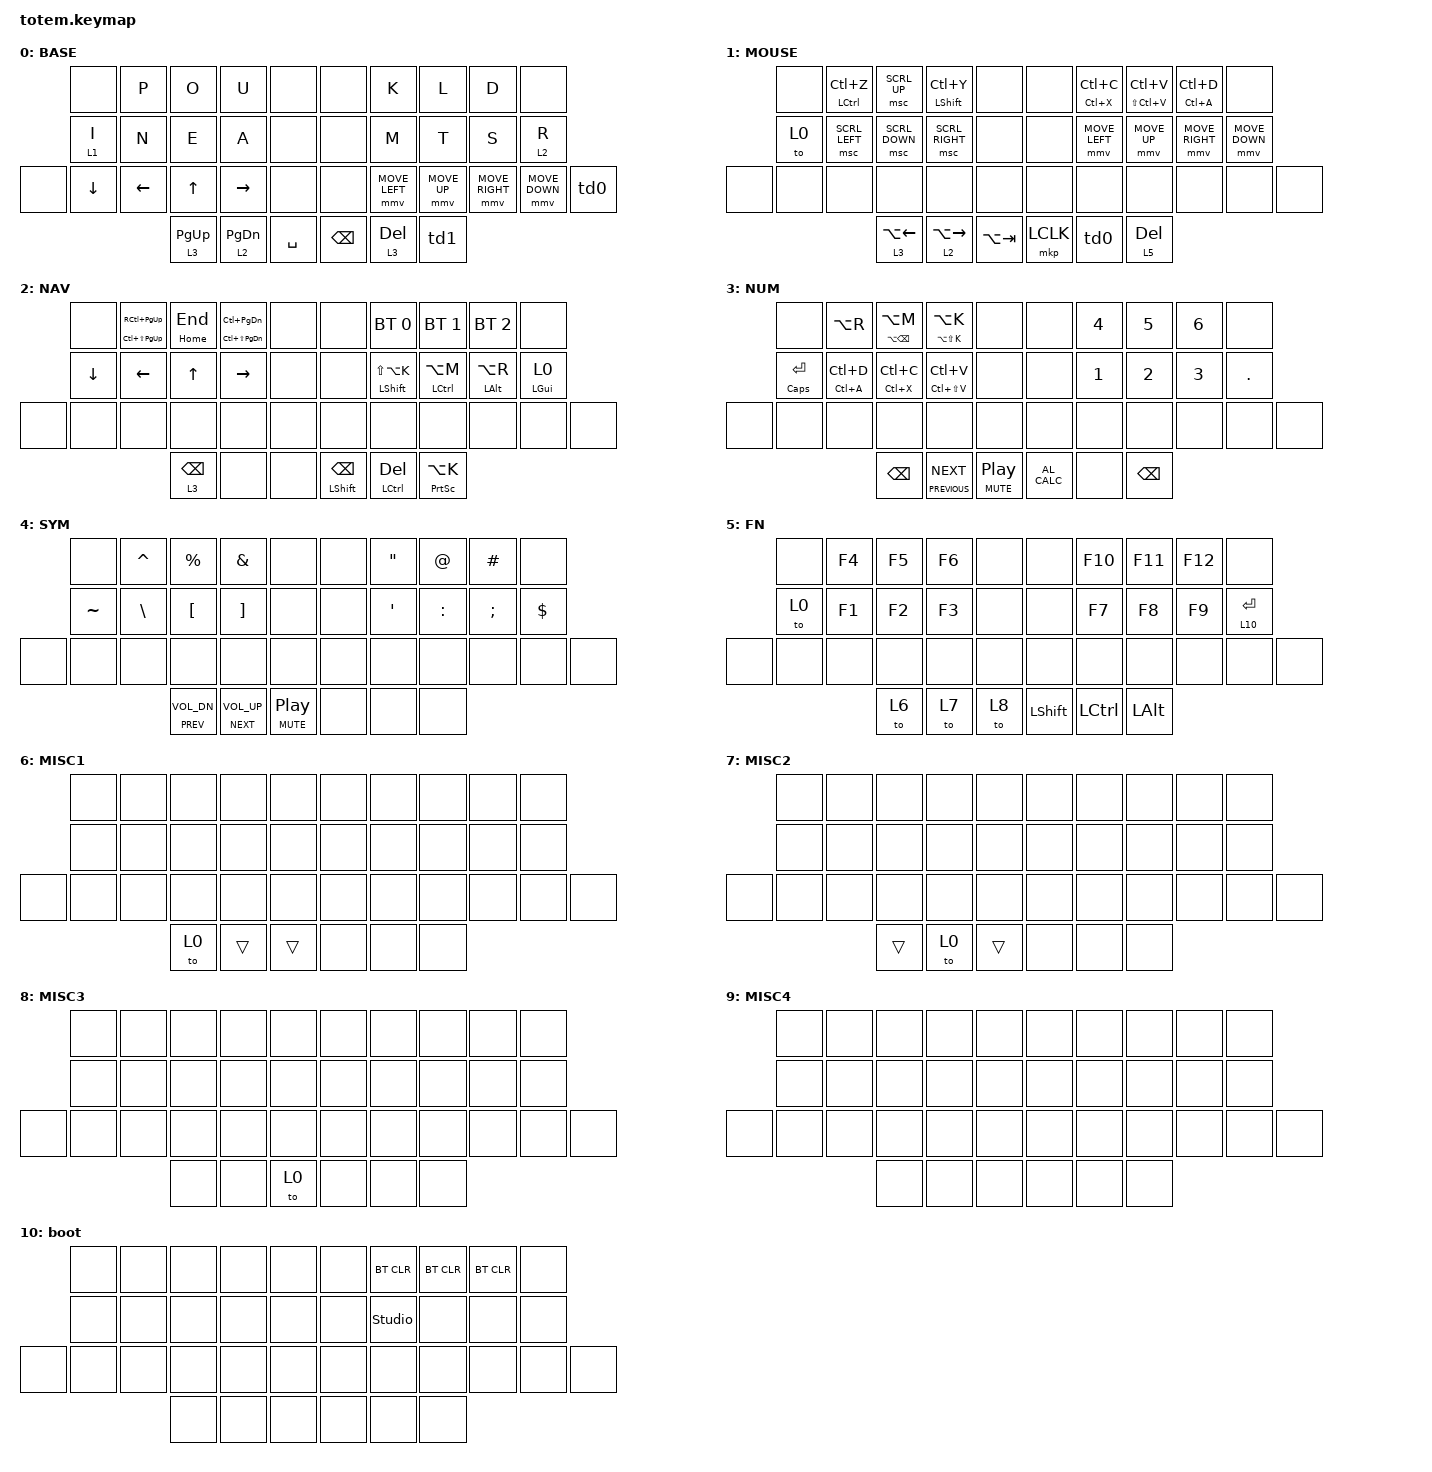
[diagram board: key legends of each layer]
/*
 * ZMK Keymap for Totem Split Keyboard (38 keys)
 * Customized with adjusted combo key positions & Layer 3 numpad combos.
 */

#include <behaviors.dtsi>
#include <dt-bindings/zmk/bt.h>
#include <dt-bindings/zmk/keys.h>
#include <dt-bindings/zmk/pointing.h>

/ {
    behaviors {
        /* Tap Dance 0: Single Tap = Right Click, Double Tap = Middle Click */

        td0: mouse_tap {
            compatible = "zmk,behavior-tap-dance";
            #binding-cells = <0>;
            tapping-term-ms = <170>;
            bindings = <&mkp RCLK>, <&mkp MCLK>;

            label = "mouse_tap";
        };

        td1: neverclick {
            compatible = "zmk,behavior-tap-dance";
            label = "neverclick";
            #binding-cells = <0>;
            bindings = <&lt 4 LA(K)>, <&kp LA(U)>;
        };

        /* Tap = Toggle to Layer 0 (BASE), Hold = Left GUI (Win/Cmd key) */

        to_base_lgui: to_base_lgui {
            compatible = "zmk,behavior-hold-tap";
            #binding-cells = <2>;
            flavor = "hold-preferred";
            tapping-term-ms = <200>;
            bindings = <&kp>, <&to>;

            label = "to_base_lgui";
        };
    };

    combos {
        compatible = "zmk,combos";

        /* ================================================================== */
        /*                  BASE LAYER (LAYER 0) COMBOS                       */
        /* ================================================================== */

        combo_minus {
            timeout-ms = <50>;
            key-positions = <12 34>;
            layers = <0>;
            bindings = <&kp MINUS>;
        };

        combo_j {
            timeout-ms = <50>;
            key-positions = <3 34>;
            layers = <0>;
            bindings = <&kp J>;
        };

        combo_g {
            timeout-ms = <50>;
            key-positions = <13 34>;
            layers = <0>;
            bindings = <&kp G>;
        };

        combo_b {
            timeout-ms = <50>;
            key-positions = <16 35>;
            layers = <0>;
            bindings = <&kp B>;
        };

        combo_h {
            timeout-ms = <50>;
            key-positions = <17 35>;
            layers = <0>;
            bindings = <&kp H>;
        };

        combo_c {
            timeout-ms = <50>;
            key-positions = <6 35>;
            layers = <0>;
            bindings = <&kp C>;
        };

        combo_q {
            timeout-ms = <50>;
            key-positions = <11 34>;
            layers = <0>;
            bindings = <&kp Q>;
        };

        combo_w {
            timeout-ms = <50>;
            key-positions = <8 35>;
            layers = <0>;
            bindings = <&kp W>;
        };

        combo_v {
            timeout-ms = <50>;
            key-positions = <7 35>;
            layers = <0>;
            bindings = <&kp V>;
        };

        combo_x {
            timeout-ms = <50>;
            key-positions = <19 35>;
            layers = <0>;
            bindings = <&kp X>;
        };

        combo_z {
            timeout-ms = <50>;
            key-positions = <1 34>;
            layers = <0>;
            bindings = <&kp Z>;
        };

        combo_y {
            timeout-ms = <50>;
            key-positions = <2 34>;
            layers = <0>;
            bindings = <&kp Y>;
        };

        combo_f {
            timeout-ms = <50>;
            key-positions = <18 35>;
            layers = <0>;
            bindings = <&kp F>;
        };

        combo_excl {
            timeout-ms = <50>;
            key-positions = <6 19>;
            layers = <0>;
            bindings = <&kp EXCL>;
        };

        combo_question {
            timeout-ms = <50>;
            key-positions = <7 19>;
            layers = <0>;
            bindings = <&kp QUESTION>;
        };

        combo_slash {
            timeout-ms = <50>;
            key-positions = <8 19>;
            layers = <0>;
            bindings = <&kp SLASH>;
        };

        combo_comma {
            timeout-ms = <50>;
            key-positions = <12 10>;
            layers = <0>;
            bindings = <&kp COMMA>;
        };

        combo_dot {
            timeout-ms = <50>;
            key-positions = <13 10>;
            layers = <0>;
            bindings = <&kp DOT>;
        };

        combo_bspc {
            timeout-ms = <50>;
            key-positions = <2 11>;
            layers = <0 1 2>;
            bindings = <&kp BSPC>;
        };

        combo_del {
            timeout-ms = <50>;
            key-positions = <2 13>;
            layers = <0 1 2>;
            bindings = <&kp DEL>;
        };

        combo_esc {
            bindings = <&kp ESC>;
            key-positions = <1 10>;
            layers = <0 1 2>;
        };

        combo-tab {
            bindings = <&kp TAB>;
            key-positions = <3 13>;
            layers = <0 1 2>;
        };

        combo-leftbracket {
            bindings = <&kp LEFT_PARENTHESIS>;
            key-positions = <2 12>;
            layers = <0>;
        };

        combo-rightbracket {
            bindings = <&kp RIGHT_PARENTHESIS>;
            key-positions = <7 17>;
            layers = <0>;
        };

        /* One-Shot Modifiers */

        combo_osm_shift_right {
            timeout-ms = <50>;
            key-positions = <16 17>;
            layers = <0 2>;
            bindings = <&sk LSHFT>;
        };

        combo_osm_alt_right {
            timeout-ms = <50>;
            key-positions = <6 7>;
            layers = <0 2>;
            bindings = <&sk LALT>;
        };

        combo_osm_ctrl_right {
            timeout-ms = <50>;
            key-positions = <17 18>;
            layers = <0 2>;
            bindings = <&sk LCTRL>;
        };

        combo_osm_gui_right {
            timeout-ms = <50>;
            key-positions = <7 8>;
            layers = <0 2>;
            bindings = <&sk LGUI>;
        };

        combo_osm_shft_left {
            bindings = <&sk LSHFT>;
            key-positions = <13 12>;
            timeout-ms = <50>;
            layers = <0 1>;
        };

        combo_osm_alt_left {
            bindings = <&sk LALT>;
            key-positions = <3 2>;
            timeout-ms = <50>;
            layers = <0 1>;
        };

        combo_osm_ctrl_left {
            bindings = <&sk LCTRL>;
            key-positions = <12 11>;
            timeout-ms = <50>;
            layers = <0 1>;
        };

        combo_osm_gui_left {
            timeout-ms = <50>;
            key-positions = <1 2>;
            layers = <0 1>;
            bindings = <&sk LGUI>;
        };

        /* ================================================================== */
        /*                 LAYER 3 (NUMPAD) COMBOS - RIGHT HAND               */
        /* ================================================================== */

        combo_l2_n7_rh {
            timeout-ms = <50>;
            key-positions = <16 17>;
            layers = <3>;
            bindings = <&kp N7>;
        };

        combo_l2_n8_rh {
            timeout-ms = <50>;
            key-positions = <17 18>;
            layers = <3>;
            bindings = <&kp N8>;
        };

        combo_l2_n9_rh {
            timeout-ms = <50>;
            key-positions = <6 7>;
            layers = <3>;
            bindings = <&kp N9>;
        };

        combo_l2_n0_rh {
            timeout-ms = <50>;
            key-positions = <7 8>;
            layers = <3>;
            bindings = <&kp N0>;
        };

        combo_l2_minus_rh {
            timeout-ms = <50>;
            key-positions = <16 19>;
            layers = <3>;
            bindings = <&kp MINUS>;
        };

        combo_l2_plus_rh {
            timeout-ms = <50>;
            key-positions = <17 19>;
            layers = <3>;
            bindings = <&kp PLUS>;
        };

        combo_l2_equal_rh {
            timeout-ms = <50>;
            key-positions = <18 19>;
            layers = <3>;
            bindings = <&kp EQUAL>;
        };

        combo_l2_slash_rh {
            timeout-ms = <50>;
            key-positions = <6 19>;
            layers = <3>;
            bindings = <&kp SLASH>;
        };

        combo_l2_astrk_rh {
            timeout-ms = <50>;
            key-positions = <7 19>;
            layers = <3>;
            bindings = <&kp ASTRK>;
        };

        /* ================================================================== */
        /*                             MISC COMBOS                            */
        /* ================================================================== */

        combo_mouse-toggle {
            bindings = <&to 1>;
            key-positions = <16 7 18>;
            layers = <0>;
        };

        combo_nav-toggle {
            bindings = <&to 2>;
            key-positions = <2 11 13>;
            layers = <0>;
        };

        combo_enter {
            bindings = <&kp ENTER>;
            key-positions = <6 16>;
            layers = <0 1 2>;
        };

        combo_fn-toggle {
            bindings = <&to 5>;
            key-positions = <10 19>;
            layers = <0 1 2>;
        };

        combo_mouse-tohome {
            bindings = <&to 0>;
            key-positions = <16 7 18>;
            layers = <1>;
        };

        combo_nav-tohome {
            bindings = <&to 0>;
            key-positions = <2 11 13>;
            layers = <2>;
        };

        combo_fn-tohome {
            bindings = <&to 0>;
            key-positions = <10 19>;
            layers = <5>;
        };
    };

    /* ================================================================== */
    /*                               KEYMAP                               */
    /* ================================================================== */

    keymap {
        compatible = "zmk,keymap";

        base_layer {
            label = "BASE";
            bindings = <
       &none           &kp P     &kp O          &kp U            &none        &none     &kp K           &kp L         &kp D            &none
       &lt 1 I         &kp N     &kp E          &kp A            &none        &none     &kp M           &kp T         &kp S            &lt 2 R
&none  &kp DOWN_ARROW  &kp LEFT  &kp UP         &kp RIGHT        &none        &none     &mmv MOVE_LEFT  &mmv MOVE_UP  &mmv MOVE_RIGHT  &mmv MOVE_DOWN  &td0
                                 &lt 3 PAGE_UP  &lt 2 PAGE_DOWN  &kp SPACE    &kp BSPC  &lt 3 DEL       &td1
            >;
        };

        mouse_layer {
            label = "MOUSE";
            bindings = <
       &none  &mt LEFT_CONTROL LC(Z)  &msc SCRL_UP          &mt LEFT_SHIFT LC(Y)   &none          &none      &mt LC(X) LC(C)  &mt LS(LC(V)) LC(V)  &mt LC(A) LC(D)  &none
       &to 0  &msc SCRL_LEFT          &msc SCRL_DOWN        &msc SCRL_RIGHT        &none          &none      &mmv MOVE_LEFT   &mmv MOVE_UP         &mmv MOVE_RIGHT  &mmv MOVE_DOWN
&none  &none  &none                   &none                 &none                  &none          &none      &none            &none                &none            &none           &none
                                      &lt 3 LA(LEFT_ARROW)  &lt 2 LA(RIGHT_ARROW)  &kp LA(TAB)    &mkp LCLK  &td0             &lt 5 DELETE
            >;
        };

        nav_media_layer {
            label = "NAV";
            bindings = <
       &none           &mt LC(LS(PAGE_UP)) RC(PAGE_UP)  &mt HOME END     &mt LC(LS(PAGE_DOWN)) LC(PAGE_DOWN)  &none    &none                     &bt BT_SEL 0              &bt BT_SEL 1           &bt BT_SEL 2        &none
       &kp DOWN_ARROW  &kp LEFT_ARROW                   &kp UP_ARROW     &kp RIGHT_ARROW                      &none    &none                     &mt LEFT_SHIFT LS(LA(K))  &mt LCTRL LA(M)        &mt LEFT_ALT LA(R)  &to_base_lgui LGUI 0
&none  &none           &none                            &none            &none                                &none    &none                     &none                     &none                  &none               &none                 &none
                                                        &lt 3 BACKSPACE  &none                                &none    &mt LEFT_SHIFT BACKSPACE  &mt LEFT_CONTROL DELETE   &mt PRINTSCREEN LA(K)
            >;
        };

        num_layer {
            label = "NUM";
            bindings = <
       &none           &kp LA(R)        &mt LA(BACKSPACE) LA(M)  &mt LA(LS(K)) LA(K)    &none                      &none          &kp N4  &kp N5         &kp N6  &none
       &mt CAPS ENTER  &mt LC(A) LC(D)  &mt LC(X) LC(C)          &mt LC(LS(V)) LC(V)    &none                      &none          &kp N1  &kp N2         &kp N3  &kp DOT
&none  &none           &none            &none                    &none                  &none                      &none          &none   &none          &none   &none    &none
                                        &kp BACKSPACE            &mt C_PREVIOUS C_NEXT  &mt C_MUTE C_PLAY_PAUSE    &kp C_AL_CALC  &none   &kp BACKSPACE
            >;
        };

        sym_layer {
            label = "SYM";
            bindings = <
       &none      &kp CARET  &kp PRCNT            &kp AMPS             &none                      &none  &kp DQT   &kp AT     &kp HASH  &none
       &kp TILDE  &kp BSLH   &kp LBKT             &kp RIGHT_BRACKET    &none                      &none  &kp APOS  &kp COLON  &kp SEMI  &kp DOLLAR
&none  &none      &none      &none                &none                &none                      &none  &none     &none      &none     &none       &none
                             &mt C_PREV C_VOL_DN  &mt C_NEXT C_VOL_UP  &mt C_MUTE C_PLAY_PAUSE    &none  &none     &none
            >;
        };

        fn_layer {
            label = "FN";
            bindings = <
       &none  &kp F4  &kp F5  &kp F6  &none    &none           &kp F10           &kp F11       &kp F12  &none
       &to 0  &kp F1  &kp F2  &kp F3  &none    &none           &kp F7            &kp F8        &kp F9   &lt 10 ENTER
&none  &none  &none   &none   &none   &none    &none           &none             &none         &none    &none         &none
                      &to 6   &to 7   &to 8    &kp LEFT_SHIFT  &kp LEFT_CONTROL  &kp LEFT_ALT
            >;
        };

        misc1_layer {
            label = "MISC1";
            bindings = <
       &none  &none  &none  &none   &none     &none  &none  &none  &none  &none
       &none  &none  &none  &none   &none     &none  &none  &none  &none  &none
&none  &none  &none  &none  &none   &none     &none  &none  &none  &none  &none  &none
                     &to 0  &trans  &trans    &none  &none  &none
            >;
        };

        misc2_layer {
            label = "MISC2";
            bindings = <
       &none  &none  &none   &none  &none     &none  &none  &none  &none  &none
       &none  &none  &none   &none  &none     &none  &none  &none  &none  &none
&none  &none  &none  &none   &none  &none     &none  &none  &none  &none  &none  &none
                     &trans  &to 0  &trans    &none  &none  &none
            >;
        };

        misc3_layer {
            label = "MISC3";
            bindings = <
       &none  &none  &none  &none  &none    &none  &none  &none  &none  &none
       &none  &none  &none  &none  &none    &none  &none  &none  &none  &none
&none  &none  &none  &none  &none  &none    &none  &none  &none  &none  &none  &none
                     &none  &none  &to 0    &none  &none  &none
            >;
        };

        misc4_layer {
            label = "MISC4";
            bindings = <
       &none  &none  &none  &none  &none    &none  &none  &none  &none  &none
       &none  &none  &none  &none  &none    &none  &none  &none  &none  &none
&none  &none  &none  &none  &none  &none    &none  &none  &none  &none  &none  &none
                     &none  &none  &none    &none  &none  &none
            >;
        };

        boot_layer {
            label = "boot";
            bindings = <
       &none  &none  &none  &none  &none    &none  &bt BT_CLR      &bt BT_CLR  &bt BT_CLR  &none
       &none  &none  &none  &none  &none    &none  &studio_unlock  &none       &none       &none
&none  &none  &none  &none  &none  &none    &none  &none           &none       &none       &none  &none
                     &none  &none  &none    &none  &none           &none
            >;
        };
    };

    conditional_layers { compatible = "zmk,conditional-layers"; };
};
